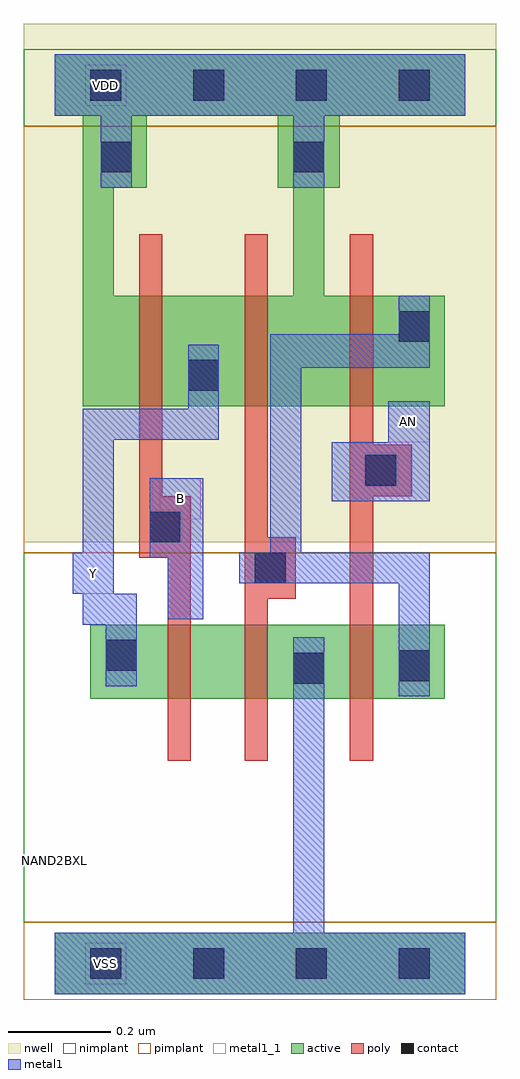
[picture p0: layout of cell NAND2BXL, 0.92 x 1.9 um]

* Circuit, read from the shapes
.subckt NAND2BXL AN B VDD VSS Y
M1 n1 B Y VSS nfet w=0.145u l=0.045u
M2 VSS n2 n1 VSS nfet w=0.145u l=0.045u
M3 n2 AN VSS VSS nfet w=0.145u l=0.045u
M4 Y B VDD VDD pfet w=0.215u l=0.045u
M5 VDD n2 Y VDD pfet w=0.215u l=0.045u
M6 n2 AN VDD VDD pfet w=0.215u l=0.045u
.ends

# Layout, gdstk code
import gdstk
lib = gdstk.Library(unit=1e-6, precision=5e-10)
def R(c, l, rs):  # rectangles x0, y0, x1, y1
    for r in rs: c.add(gdstk.rectangle(r[:2], r[2:], *l))
def A(c, l, x, y, w, h, nx, ny, dx, dy):  # array of equal rectangles
    R(c, l, [(x+i*dx, y+j*dy, x+i*dx+w, y+j*dy+h) for i in range(nx) for j in range(ny)])
def P(c, l, *ps):  # polygons
    for p in ps: c.add(gdstk.Polygon(p, *l))
active = (1, 0)
nwell = (2, 0)
poly = (3, 0)
nimplant = (4, 0)
pimplant = (5, 0)
contact = (6, 0)
metal1 = (7, 0)
metal1_1 = (7, 1)

nand2bxl = lib.new_cell('NAND2BXL')
R(nand2bxl, active, [(0,-0.06,0.8,0.06), (0.07,0.515,0.76,0.66)])
P(nand2bxl, active, [(0.8,1.77),(0.465,1.77),(0.465,1.3),(0.115,1.3),(0.115,1.51),(0.18,1.51),(0.18,1.65),(0.435,1.65),(0.435,1.51),(0.465,1.51),(0.465,1.77),(0,1.77),(0,1.65),(0.055,1.65),(0.055,1.085),(0.76,1.085),(0.76,1.3),(0.525,1.3),(0.525,1.51),(0.555,1.51),(0.555,1.65),(0.8,1.65)])
R(nand2bxl, nwell, [(-0.06,0.82,0.86,1.83)])
P(nand2bxl, poly, [(0.265,0.91),(0.21,0.91),(0.21,1.42),(0.165,1.42),(0.165,0.79),(0.22,0.79),(0.22,0.395),(0.265,0.395)],
  [(0.47,0.83),(0.415,0.83),(0.415,1.42),(0.37,1.42),(0.37,0.395),(0.415,0.395),(0.415,0.71),(0.47,0.71)],
  [(0.695,1.01),(0.62,1.01),(0.62,1.42),(0.575,1.42),(0.575,0.395),(0.62,0.395),(0.62,0.91),(0.695,0.91)])
R(nand2bxl, nimplant, [(-0.06,0.08,0.86,0.8), (-0.06,1.63,0.86,1.78)])
R(nand2bxl, pimplant, [(-0.06,-0.07,0.86,0.08), (-0.06,0.8,0.86,1.63)])
A(nand2bxl, contact, 0.07, -0.03, 0.06, 0.06, 4, 2, 0.2, 1.71)
R(nand2bxl, contact, [(0.465,0.545,0.525,0.605), (0.67,0.55,0.73,0.61), (0.1,0.57,0.16,0.63), (0.39,0.74,0.45,0.8), (0.185,0.82,0.245,0.88), (0.605,0.93,0.665,0.99), (0.26,1.115,0.32,1.175), (0.67,1.21,0.73,1.27), (0.09,1.54,0.15,1.6), (0.465,1.54,0.525,1.6)])
P(nand2bxl, metal1, [(0.32,1.205),(0.26,1.205),(0.26,1.08),(0.055,1.08),(0.055,0.8),(0.035,0.8),(0.035,0.72),(0.055,0.72),(0.055,0.66),(0.1,0.66),(0.1,0.54),(0.16,0.54),(0.16,0.72),(0.115,0.72),(0.115,1.02),(0.32,1.02)],
  [(0.73,1.095),(0.65,1.095),(0.65,1.015),(0.54,1.015),(0.54,0.9),(0.73,0.9)],
  [(0.73,0.8),(0.48,0.8),(0.48,1.16),(0.73,1.16),(0.73,1.3),(0.67,1.3),(0.67,1.225),(0.42,1.225),(0.42,0.8),(0.36,0.8),(0.36,0.74),(0.67,0.74),(0.67,0.52),(0.73,0.52)],
  [(0.29,0.945),(0.185,0.945),(0.185,0.79),(0.22,0.79),(0.22,0.67),(0.29,0.67)],
  [(0.8,1.77),(0,1.77),(0,1.65),(0.09,1.65),(0.09,1.51),(0.15,1.51),(0.15,1.65),(0.465,1.65),(0.465,1.51),(0.525,1.51),(0.525,1.65),(0.8,1.65)],
  [(0.8,0.06),(0.525,0.06),(0.525,0.635),(0.465,0.635),(0.465,0.06),(0,0.06),(0,-0.06),(0.8,-0.06)])
R(nand2bxl, metal1_1, [(0.06,-0.04,0.14,0.04), (0.035,0.72,0.115,0.8), (0.205,0.865,0.285,0.945), (0.65,1.015,0.73,1.095), (0.06,1.67,0.14,1.75)])
nand2bxl.add(gdstk.Label('AN', (0.69,1.055), layer=7, texttype=1))
nand2bxl.add(gdstk.Label('B', (0.245,0.905), layer=7, texttype=1))
nand2bxl.add(gdstk.Label('VDD', (0.1,1.71), layer=7, texttype=1))
nand2bxl.add(gdstk.Label('Y', (0.075,0.76), layer=7, texttype=1))
nand2bxl.add(gdstk.Label('VSS', (0.1,0), layer=7, texttype=1))
nand2bxl.add(gdstk.Label('NAND2BXL', (0,0.2), layer=63, texttype=0))

lib.write_gds('NAND2BXL.gds')
